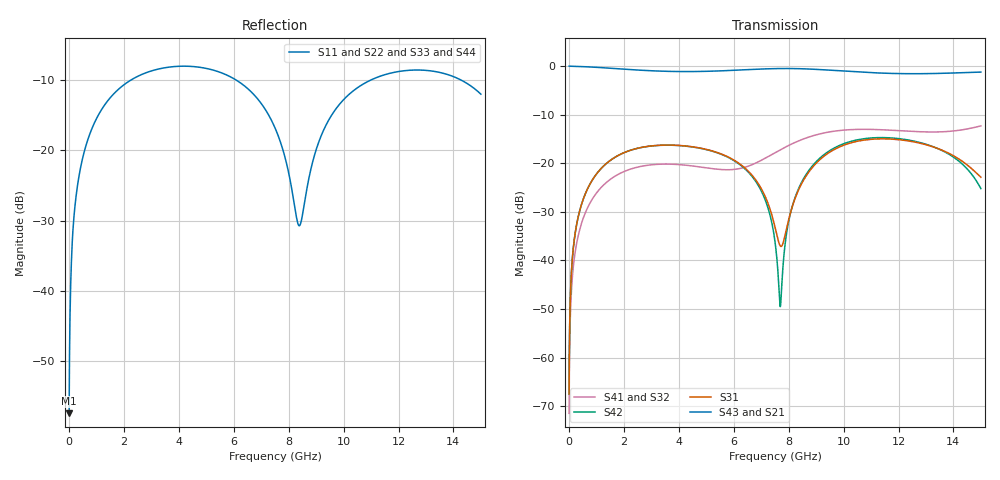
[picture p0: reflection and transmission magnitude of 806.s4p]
! Created with skrf 1.8.0 (http://scikit-rf.org).
# GHz S RI R 50.0
!freq ReS11 ImS11 ReS12 ImS12 ReS13 ImS13
! ReS14 ImS14
! ReS21 ImS21 ReS22 ImS22 ReS23 ImS23
! ReS24 ImS24
! ReS31 ImS31 ReS32 ImS32 ReS33 ImS33
! ReS34 ImS34
! ReS41 ImS41 ReS42 ImS42 ReS43 ImS43
! ReS44 ImS44
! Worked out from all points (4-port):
!   2499 points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, 5 MHz to 15 GHz, reference 50 ohm
!   strongest paths, dB at 5 MHz, 3.476 GHz, 7.19 GHz, 11.1 GHz, 15 GHz:
!     S43: 0.0, -1.1, -0.6, -1.4, -1.2
!     S21: 0.0, -1.1, -0.6, -1.4, -1.2
!     S31: -67.5, -16.3, -27.4, -15.0, -22.9
!     S42: -67.5, -16.3, -28.2, -14.7, -25.2
!     S41: -71.5, -20.2, -18.8, -13.0, -12.3
!     S32: -71.5, -20.2, -18.8, -13.1, -12.3
!   lowest |S11| = -57.4 dB at 5 MHz (marker M1), VSWR 1.00, Z = 50.1 + j0.082 ohm
!   |S11| at or under -10 dB: start of sweep to 2.269 GHz; 6.074 GHz to 11.01 GHz (4.933 GHz wide, 57.8 % of centre); 14.26 GHz to end of sweep
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0.005  0.00107 0.000818  0.9989 -0.0021  5.23e-05 0.000419  -5.09e-05 -0.000263
       0.9989 -0.0021  0.00107 0.000818  -5.09e-05 -0.000263  5.23e-05 0.000419
       5.23e-05 0.000419  -5.09e-05 -0.000263  0.00107 0.000818  0.9989 -0.0021
       -5.09e-05 -0.000263  5.23e-05 0.000419  0.9989 -0.0021  0.00107 0.000818
0.4126719  0.0179 0.0714  0.9754 -0.1722  0.00817 0.0333  -0.00679 -0.0208
           0.9754 -0.1722  0.0179 0.0714  -0.00678 -0.0208  0.00814 0.0333
           0.00817 0.0333  -0.00678 -0.0208  0.0179 0.0714  0.9754 -0.1722
           -0.00679 -0.0208  0.00814 0.0333  0.9754 -0.1722  0.0178 0.0714
2.025844  0.2222 0.1925  0.646 -0.6682  0.1082 0.0711  -0.08 -0.021
          0.646 -0.6682  0.2223 0.1925  -0.0799 -0.0211  0.1077 0.0716
          0.1082 0.0711  -0.0799 -0.0211  0.2223 0.1924  0.646 -0.6683
          -0.08 -0.021  0.1077 0.0716  0.646 -0.6683  0.2222 0.1926
6.390163  0.2157 -0.1884  -0.6106 -0.6838  0.0482 -0.0764  -0.0435 0.0797
          -0.6106 -0.6838  0.2154 -0.1901  -0.0451 0.0778  0.0534 -0.0707
          0.0482 -0.0764  -0.0451 0.0778  0.2145 -0.1888  -0.611 -0.6839
          -0.0435 0.0797  0.0534 -0.0707  -0.611 -0.6839  0.2153 -0.1887
7.690704  0.0544 -0.1022  -0.8911 -0.3125  -0.0135 -0.00425  -0.0396 0.1316
          -0.8911 -0.3125  0.0527 -0.1044  -0.043 0.1304  -0.00329 -0.000662
          -0.0135 -0.00425  -0.043 0.1304  0.0527 -0.1015  -0.8914 -0.3121
          -0.0396 0.1316  -0.00329 -0.000662  -0.8914 -0.3121  0.0535 -0.1028
8.390996  0.029 -0.000702  -0.9397 -0.0513  -0.00154 0.0555  -0.00245 0.1714
          -0.9397 -0.0513  0.0263 -0.00272  -0.00673 0.1713  0.0104 0.0564
          -0.00154 0.0555  -0.00673 0.1713  0.0276 0.000953  -0.9397 -0.0508
          -0.00245 0.1714  0.0104 0.0564  -0.9397 -0.0508  0.0275 -0.00141
15  0.1931 -0.159  0.5824 0.6438  -0.0227 -0.0682  0.1651 -0.1778
    0.5824 0.6438  0.2002 -0.1601  0.173 -0.1694  -0.00634 -0.0546
    -0.0227 -0.0682  0.173 -0.1694  0.1935 -0.1577  0.5821 0.6443
    0.1651 -0.1778  -0.00634 -0.0546  0.5821 0.6443  0.1986 -0.1598
